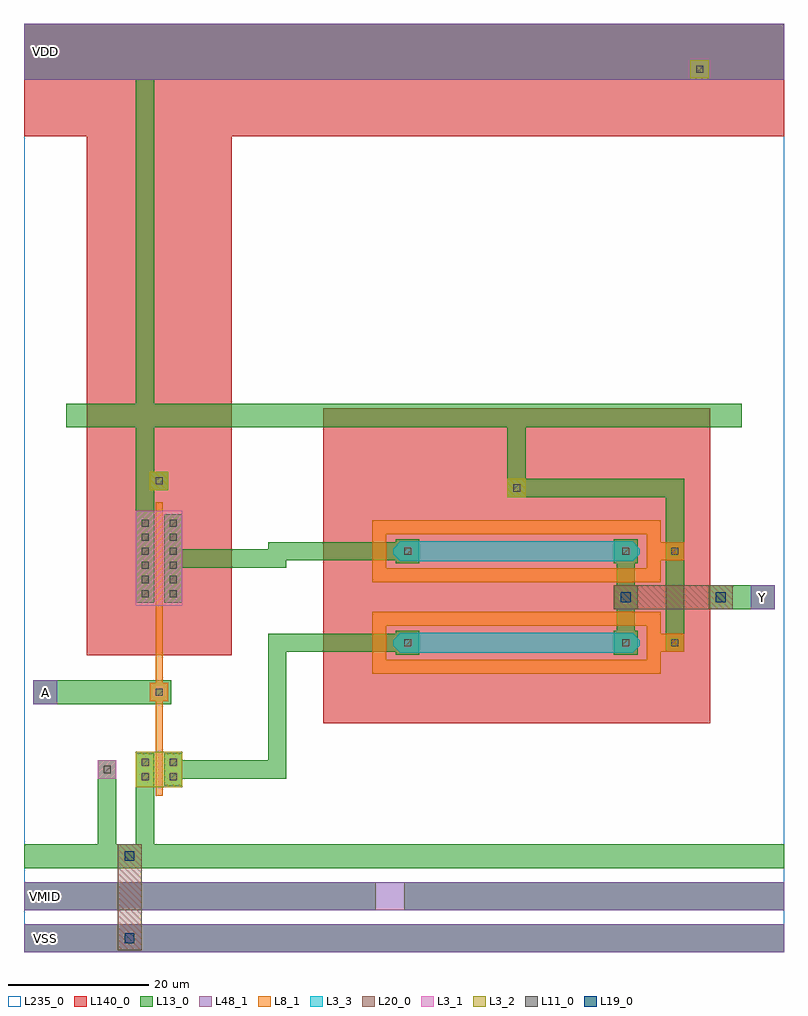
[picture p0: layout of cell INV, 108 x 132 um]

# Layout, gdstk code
import gdstk
lib = gdstk.Library(unit=1e-6, precision=1e-09)
def R(c, l, rs):  # rectangles x0, y0, x1, y1
    for r in rs: c.add(gdstk.rectangle(r[:2], r[2:], *l))
def A(c, l, x, y, w, h, nx, ny, dx, dy):  # array of equal rectangles
    R(c, l, [(x+i*dx, y+j*dy, x+i*dx+w, y+j*dy+h) for i in range(nx) for j in range(ny)])
def P(c, l, *ps):  # polygons
    for p in ps: c.add(gdstk.Polygon(p, *l))
L3_1 = (3, 1)
L3_2 = (3, 2)
L3_3 = (3, 3)
L8_1 = (8, 1)
L11_0 = (11, 0)
L13_0 = (13, 0)
L19_0 = (19, 0)
L20_0 = (20, 0)
L48_1 = (48, 1)
L140_0 = (140, 0)
L235_0 = (235, 0)

inv = lib.new_cell('INV')
R(inv, L3_1, [(10.5,24.7,13.1,27.3), (15.9,49.25,22.5,62.75)])
R(inv, L3_2, [(15.9,23.5,22.5,28.5), (68.7,64.7,71.3,67.3), (17.9,65.7,20.5,68.3), (94.7,124.2,97.3,126.8)])
P(inv, L3_3, [(53.5,55.6),(52.5,56.6),(52.5,57.4),(53.5,58.4),(86.5,58.4),(87.5,57.4),(87.5,56.6),(86.5,55.6)],
  [(53.5,42.6),(52.5,43.6),(52.5,44.4),(53.5,45.4),(86.5,45.4),(87.5,44.4),(87.5,43.6),(86.5,42.6)])
R(inv, L8_1, [(18.7,25.5,19.7,56.5), (17.9,35.7,20.5,38.3), (89.2,42.7,93.8,45.3), (91.2,42.7,93.8,45.3), (89.2,55.7,93.8,58.3), (91.2,55.7,93.8,58.3)])
P(inv, L8_1, [(49.5,52.6),(49.5,59.4),(51.5,59.4),(51.5,54.6),(88.5,54.6),(88.5,59.4),(49.5,59.4),(49.5,61.4),(90.5,61.4),(90.5,52.6)],
  [(49.5,39.6),(49.5,46.4),(51.5,46.4),(51.5,41.6),(88.5,41.6),(88.5,46.4),(49.5,46.4),(49.5,48.4),(90.5,48.4),(90.5,39.6)])
A(inv, L11_0, 16.7, 50.5, 1, 1, 1, 6, 0, 2)
A(inv, L11_0, 20.7, 50.5, 1, 1, 1, 6, 0, 2)
R(inv, L11_0, [(16.7,24.5,17.7,25.5), (20.7,24.5,21.7,25.5), (11.3,25.5,12.3,26.5), (16.7,26.5,17.7,27.5), (20.7,26.5,21.7,27.5), (18.7,36.5,19.7,37.5), (54,43.5,55,44.5), (85,43.5,86,44.5), (92,43.5,93,44.5), (54,56.5,55,57.5), (85,56.5,86,57.5), (92,56.5,93,57.5), (69.5,65.5,70.5,66.5), (18.7,66.5,19.7,67.5), (95.5,125,96.5,126)])
R(inv, L13_0, [(0,0,108,4), (0,6,50,10), (54,6,108,10), (1.3,35.3,20.9,38.7), (97.3,48.8,106.7,52.2)])
P(inv, L13_0, [(0,12),(0,15.4),(10.5,15.4),(10.5,27.3),(13.1,27.3),(13.1,15.4),(15.9,15.4),(15.9,28.3),(18.5,28.3),(18.5,15.4),(108,15.4),(108,12)],
  [(19.9,23.7),(19.9,28.3),(22.5,28.3),(22.5,27.3),(34.7,27.3),(34.7,45.3),(52.8,45.3),(52.8,45.7),(56.2,45.7),(56.2,42.3),(52.8,42.3),(52.8,42.7),(37.3,42.7),(37.3,24.7),(22.5,24.7),(22.5,23.7)],
  [(83.8,42.3),(83.8,45.7),(84.2,45.7),(84.2,48.8),(83.8,48.8),(83.8,52.2),(84.2,52.2),(84.2,55.3),(83.8,55.3),(83.8,58.7),(87.2,58.7),(87.2,55.3),(86.8,55.3),(86.8,52.2),(87.2,52.2),(87.2,48.8),(86.8,48.8),(86.8,45.7),(87.2,45.7),(87.2,42.3)],
  [(19.9,49.7),(19.9,62.3),(22.5,62.3),(22.5,57.3),(34.7,57.3),(34.7,58.3),(52.8,58.3),(52.8,58.7),(56.2,58.7),(56.2,55.3),(52.8,55.3),(52.8,55.7),(37.3,55.7),(37.3,54.7),(22.5,54.7),(22.5,49.7)],
  [(91.2,42.7),(91.2,64.7),(68.7,64.7),(68.7,74.6),(18.5,74.6),(18.5,68.3),(20.5,68.3),(20.5,65.7),(18.5,65.7),(18.5,49.7),(15.9,49.7),(15.9,74.6),(6,74.6),(6,78),(15.9,78),(15.9,124),(0,124),(0,132),(108,132),(108,124),(18.5,124),(18.5,78),(102,78),(102,74.6),(71.3,74.6),(71.3,67.3),(93.8,67.3),(93.8,42.7)])
R(inv, L19_0, [(14.3,1.3,15.7,2.7), (14.3,13,15.7,14.4), (84.8,49.8,86.2,51.2), (98.3,49.8,99.7,51.2)])
R(inv, L20_0, [(13.3,0.3,16.7,15.4), (13.3,0.3,16.7,3.7), (13.3,12,16.7,15.4), (83.8,48.8,87.2,52.2), (85.5,48.8,100.7,52.2), (97.3,48.8,100.7,52.2)])
R(inv, L48_1, [(0,0,108,4), (0,6,108,10), (1.3,35.3,4.7,38.7), (103.3,48.8,106.7,52.2), (0,124,108,132)])
R(inv, L140_0, [(42.5,32.6,97.5,77.3), (8.9,42.25,29.5,73.3), (8.9,42.25,29.5,132), (0,116,108,132)])
R(inv, L235_0, [(0,0,108,132)])
inv.add(gdstk.FlexPath([(19.2,48.05),(19.2,63.95)], 1, ends="flush", simple_path=True, layer=8, datatype=1))  # L8_1
inv.add(gdstk.FlexPath([(19.2,22.3),(19.2,29.7)], 1, ends="flush", simple_path=True, layer=8, datatype=1))  # L8_1
inv.add(gdstk.Label('A', (3,37), layer=48, texttype=0))
inv.add(gdstk.Label('Y', (105,50.5), layer=48, texttype=0))
inv.add(gdstk.Label('VDD', (3,128), layer=48, texttype=0))
inv.add(gdstk.Label('VMID', (3,8), layer=48, texttype=0))
inv.add(gdstk.Label('VSS', (3,2), layer=48, texttype=0))

lib.write_gds('INV.gds')
